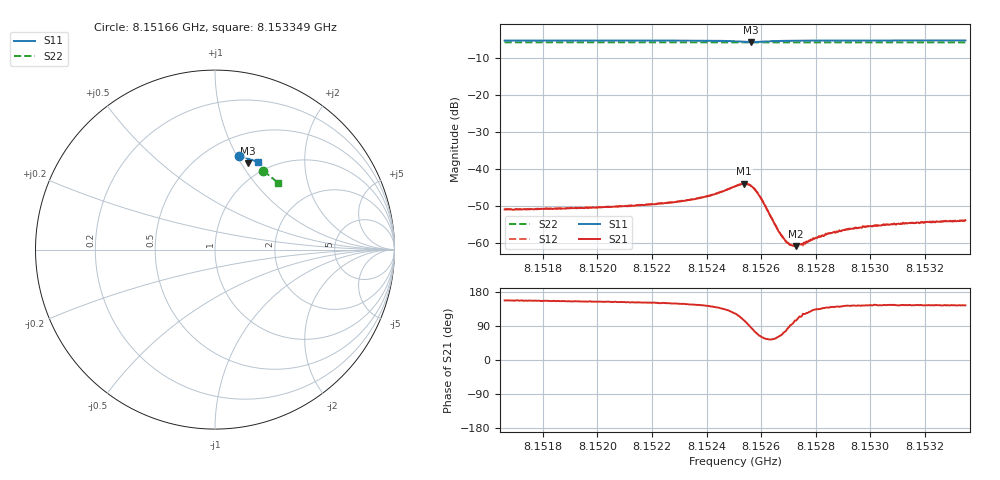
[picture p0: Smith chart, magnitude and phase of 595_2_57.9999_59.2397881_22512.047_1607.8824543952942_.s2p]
#  HZ  S  RI  R  50.00
! Rohde & Schwarz Vector Network Analyzer
! Rohde-Schwarz,ZNB20-2Port,1311601062101988,3.16
! Created: UTC 3/21/2024, 1:16:59 AM
! freq[Hz]  re:S11  im:S11  re:S21  im:S21  re:S12  im:S12  re:S22  im:S22
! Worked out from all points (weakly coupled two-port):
!   401 points, 8.15166 GHz to 8.153349 GHz, reference 50 ohm
!   highest |S21| = -44.05 dB at 8.152538 GHz (marker M1); lowest = -60.9 dB at 8.152728 GHz (marker M2)
!   lowest |S11| = -5.8 dB at 8.152563 GHz (marker M3), VSWR 3.13, Z = 41 + j53.7 ohm
!   |S11| at or under -10 dB: nowhere
!   |S22| runs from -5.8 to -5.8 dB; largest |S21 - S12| = 0.00014
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8.1516596e9  0.1347 0.523  -0.0026 0.0011  -0.00262 0.00115  0.2689 0.436
8.1519426e9  0.1545 0.5178  -0.00268 0.00128  -0.00267 0.00131  0.284 0.426
8.1522255e9  0.1751 0.5114  -0.00295 0.0017  -0.00296 0.00171  0.2987 0.4152
8.1523226e9  0.1827 0.508  -0.00314 0.00199  -0.00313 0.00203  0.3037 0.4116
8.1523818e9  0.188 0.5052  -0.00331 0.00238  -0.00329 0.00244  0.3066 0.4091
8.1524324e9  0.1927 0.5015  -0.00348 0.00299  -0.00346 0.00303  0.3093 0.4071
8.1525042e9  0.1975 0.4905  -0.00314 0.00487  -0.0031 0.00493  0.3125 0.4037
8.152538e9  0.1933 0.4825  -0.00154 0.00608  -0.00153 0.00611  0.3139 0.4025
8.1525634e9  0.185 0.481  0.000496 0.00583  0.000571 0.00589  0.3149 0.4013
8.152576e9  0.1812 0.4835  0.0013 0.00513  0.00142 0.00519  0.3153 0.4012
8.1525929e9  0.1786 0.4882  0.00188 0.00392  0.00192 0.00399  0.3161 0.4006
8.1526563e9  0.185 0.5001  0.000844 0.00139  0.000927 0.00134  0.3195 0.3985
8.1526816e9  0.1888 0.5014  0.000359 0.00111  0.000388 0.0011  0.3208 0.3975
8.1527027e9  0.1915 0.5018  4.54e-05 0.000964  6.5e-05 0.00095  0.3219 0.3967
8.1527281e9  0.1944 0.5019  -0.000218 0.000875  -0.000233 0.000905  0.3232 0.3957
8.1527449e9  0.1963 0.5017  -0.000383 0.000869  -0.000403 0.000867  0.3241 0.3949
8.1527872e9  0.2004 0.501  -0.00072 0.000834  -0.000717 0.000845  0.3263 0.3933
8.1528421e9  0.2053 0.4999  -0.001 0.000873  -0.000989 0.000865  0.3289 0.3908
8.1528928e9  0.2094 0.4987  -0.00112 0.000892  -0.00115 0.000962  0.3313 0.3887
8.1529814e9  0.2161 0.4963  -0.00134 0.000972  -0.00132 0.000975  0.3356 0.385
8.1530701e9  0.2224 0.494  -0.00144 0.000996  -0.00144 0.00105  0.3397 0.3811
8.1533488e9  0.2411 0.4859  -0.00164 0.00118  -0.0016 0.00119  0.3525 0.3688
